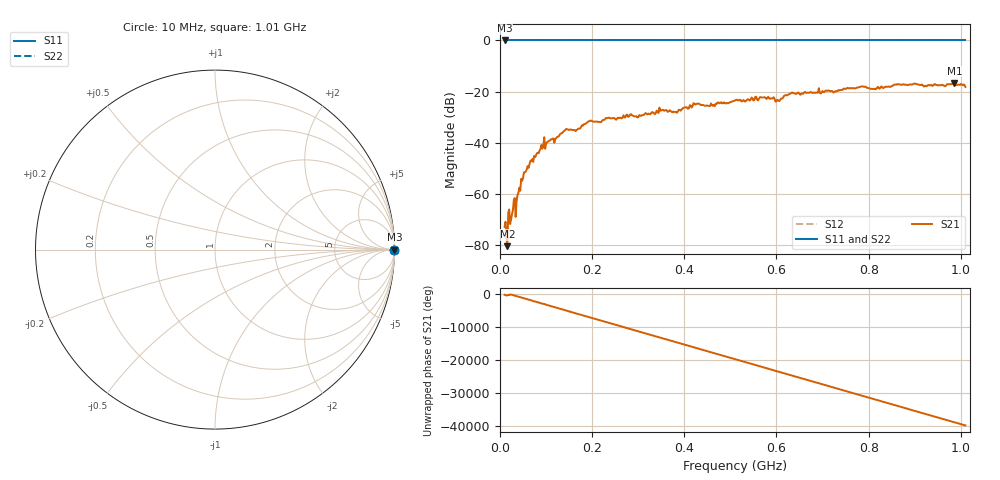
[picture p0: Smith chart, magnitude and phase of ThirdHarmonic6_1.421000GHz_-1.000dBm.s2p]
! 8/16/2025 4:20:38 PM
! C:\ANRITSUVNA\TEMP\TEMP.S2P
! CHANNEL.1
! TR.MEASUREMENT
! RAW.DATA
! RF.CORRECTION.OFF
! AVERAGING.OFF
! IF.BANDWIDTH: 5KHZ
! SWEEPTYPE:  FREQ.SWEEP(Linear)
! Reference Plane Port Info
! PORT:  PORT1  PORT2
! DISTANCE:  0  m  0  m
! TIME:  0  s  0  s
! PHASE.OFFSET:  0  deg.  0  deg.
! LOSS:  0  dB  0  dB
! REF.LOSS:  0  dB  0  dB
! REF.FREQ:  0  Hz  0  Hz
! Power Info
! POWER:  -20  dBm  -20  dBm
! EFF.POWER:  -20  dBm  -20  dBm
! SOURCE.ATTEN:  0  dB  0  dB
! TEST.ATTEN:  0  dB  0  dB
# GHZ S RI R 50.0
! FREQ.GHZ  S11RE  S11IM  S21RE  S21IM  S12RE  S12IM  S22RE  S22IM
!; PortSelection: Port_12
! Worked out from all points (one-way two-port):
!   501 points, 10 MHz to 1.01 GHz, reference 50 ohm
!   highest |S21| = -16.65 dB at 986 MHz (marker M1); lowest = -80.4 dB at 16 MHz (marker M2)
!   lowest |S11| = 0.0 dB at 10 MHz (marker M3)
!   |S11| at or under -10 dB: nowhere
!   |S22| runs from 0.0 to 0.0 dB; largest |S21 - S12| = 1.1
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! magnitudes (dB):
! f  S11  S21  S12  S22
! 10 MHz  0.0  -72.9  0.0  0.0
! 12 MHz  0.0  -70.9  0.0  0.0
! 16 MHz  0.0  -80.4  0.0  0.0
! 18 MHz  0.0  -67.2  0.0  0.0
! 38 MHz  0.0  -60.4  0.0  0.0
! 50 MHz  0.0  -53.9  0.0  0.0
! 92 MHz  0.0  -42.3  0.0  0.0
! 142 MHz  0.0  -35.0  0.0  0.0
! 178 MHz  0.0  -33.1  0.0  0.0
! 196 MHz  0.0  -31.4  0.0  0.0
! 344 MHz  0.0  -28.4  0.0  0.0
! 382 MHz  0.0  -28.0  0.0  0.0
! 424 MHz  0.0  -25.0  0.0  0.0
! 452 MHz  0.0  -25.6  0.0  0.0
! 510 MHz  0.0  -23.5  0.0  0.0
! 570 MHz  0.0  -22.3  0.0  0.0
! 602 MHz  0.0  -23.2  0.0  0.0
! 632 MHz  0.0  -20.6  0.0  0.0
! 678 MHz  0.0  -20.5  0.0  0.0
! 844 MHz  0.0  -18.0  0.0  0.0
! 986 MHz  0.0  -16.7  0.0  0.0
! 1.01 GHz  0.0  -18.2  0.0  0.0
